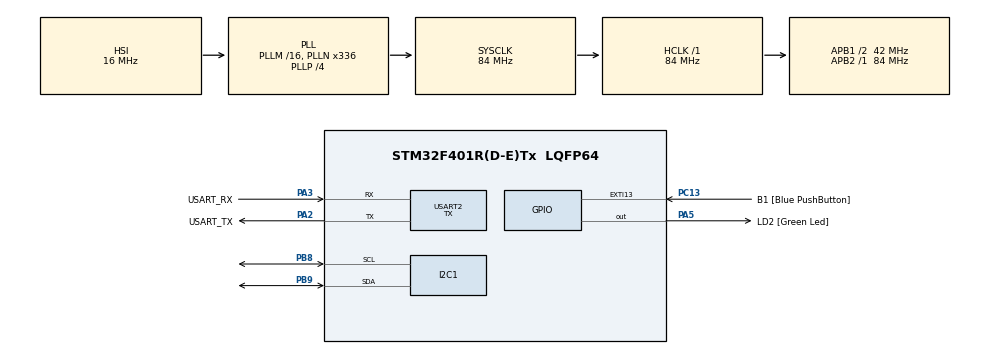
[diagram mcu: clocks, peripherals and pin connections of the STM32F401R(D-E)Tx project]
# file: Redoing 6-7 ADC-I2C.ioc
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ADC1.Channel-1\#ChannelRegularConversion=ADC_CHANNEL_TEMPSENSOR
ADC1.ExternalTrigConv=ADC_EXTERNALTRIGCONV_T2_TRGO
ADC1.NbrOfConversionFlag=1
ADC1.Rank-1\#ChannelRegularConversion=1
ADC1.SamplingTime-1\#ChannelRegularConversion=ADC_SAMPLETIME_480CYCLES
ADC1.master=1
Dma.ADC1.0.Direction=DMA_PERIPH_TO_MEMORY
Dma.ADC1.0.FIFOMode=DMA_FIFOMODE_DISABLE
Dma.ADC1.0.Instance=DMA2_Stream0
Dma.ADC1.0.MemDataAlignment=DMA_MDATAALIGN_HALFWORD
Dma.ADC1.0.MemInc=DMA_MINC_ENABLE
Dma.ADC1.0.Mode=DMA_NORMAL
Dma.ADC1.0.PeriphDataAlignment=DMA_PDATAALIGN_HALFWORD
Dma.ADC1.0.PeriphInc=DMA_PINC_DISABLE
Dma.ADC1.0.Priority=DMA_PRIORITY_LOW
Dma.Request0=ADC1
Mcu.Family=STM32F4
Mcu.Name=STM32F401R(D-E)Tx
Mcu.Package=LQFP64
NVIC.ADC_IRQn=true\:0\:0\:false\:false\:true\:true\:true\:true
NVIC.DMA2_Stream0_IRQn=true\:0\:0\:false\:false\:true\:false\:true\:true
NVIC.PriorityGroup=NVIC_PRIORITYGROUP_1
NVIC.TIM2_IRQn=true\:1\:0\:true\:false\:true\:true\:true\:true
NVIC.USART2_IRQn=true\:0\:0\:false\:false\:true\:true\:true\:true
PA13.GPIO_Label=TMS
PA13.Mode=Serial_Wire
PA13.Signal=SYS_JTMS-SWDIO
PA14.GPIO_Label=TCK
PA14.Mode=Serial_Wire
PA14.Signal=SYS_JTCK-SWCLK
PA2.GPIO_Label=USART_TX
PA2.GPIO_Mode=GPIO_MODE_AF_PP
PA2.GPIO_PuPd=GPIO_NOPULL
PA2.GPIO_Speed=GPIO_SPEED_FREQ_LOW
PA2.Mode=Asynchronous
PA2.Signal=USART2_TX
PA3.GPIO_Label=USART_RX
PA3.GPIO_Mode=GPIO_MODE_AF_PP
PA3.GPIO_PuPd=GPIO_NOPULL
PA3.GPIO_Speed=GPIO_SPEED_FREQ_LOW
PA3.Mode=Asynchronous
PA3.Signal=USART2_RX
PA5.GPIO_Label=LD2 [Green Led]
PA5.GPIO_Mode=GPIO_MODE_OUTPUT_PP
PA5.GPIO_PuPd=GPIO_NOPULL
PA5.GPIO_Speed=GPIO_SPEED_FREQ_LOW
PA5.Signal=GPIO_Output
PB3.GPIO_Label=SWO
PB3.Signal=SYS_JTDO-SWO
PB8.Mode=I2C
PB8.Signal=I2C1_SCL
PB9.Mode=I2C
PB9.Signal=I2C1_SDA
PC13-ANTI_TAMP.GPIO_Label=B1 [Blue PushButton]
PC13-ANTI_TAMP.GPIO_ModeDefaultEXTI=GPIO_MODE_IT_FALLING
PC13-ANTI_TAMP.GPIO_PuPd=GPIO_NOPULL
PC13-ANTI_TAMP.Signal=GPXTI13
PC14-OSC32_IN.Mode=LSE-External-Oscillator
PC14-OSC32_IN.Signal=RCC_OSC32_IN
PC15-OSC32_OUT.Mode=LSE-External-Oscillator
PC15-OSC32_OUT.Signal=RCC_OSC32_OUT
PH0\ -\ OSC_IN.Mode=HSE-External-Clock-Source
PH0\ -\ OSC_IN.Signal=RCC_OSC_IN
PH1\ -\ OSC_OUT.Mode=HSE-External-Clock-Source
PH1\ -\ OSC_OUT.Signal=RCC_OSC_OUT
ProjectManager.HeapSize=0x200
ProjectManager.StackSize=0x400
ProjectManager.TargetToolchain=STM32CubeIDE
RCC.48MHZClocksFreq_Value=48000000
RCC.AHBFreq_Value=84000000
RCC.APB1CLKDivider=RCC_HCLK_DIV2
RCC.APB1Freq_Value=42000000
RCC.APB1TimFreq_Value=84000000
RCC.APB2Freq_Value=84000000
RCC.APB2TimFreq_Value=84000000
RCC.CortexFreq_Value=84000000
RCC.HCLKFreq_Value=84000000
RCC.HSE_VALUE=8000000
RCC.HSI_VALUE=16000000
RCC.PLLN=336
RCC.PLLP=RCC_PLLP_DIV4
RCC.PLLQ=7
RCC.SYSCLKFreq_VALUE=84000000
RCC.SYSCLKSource=RCC_SYSCLKSOURCE_PLLCLK
RCC.VCOOutputFreq_Value=336000000
TIM2.Period=10000-1
TIM2.Prescaler=8400-1
TIM2.TIM_MasterOutputTrigger=TIM_TRGO_UPDATE
USART2.Mode=MODE_TX
USART2.VirtualMode=VM_ASYNC
VP_ADC1_TempSens_Input.Mode=IN-TempSens
VP_TIM2_VS_ClockSourceINT.Mode=Internal
board=NUCLEO-F401RE

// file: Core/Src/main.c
/* USER CODE BEGIN Header */
/**
 ******************************************************************************
 * @file           : main.c
 * @brief          : Main program body
 ******************************************************************************
 * @attention
 *
 * Copyright (c) 2023 STMicroelectronics.
 * All rights reserved.
 *
 * This software is licensed under terms that can be found in the LICENSE file
 * in the root directory of this software component.
 * If no LICENSE file comes with this software, it is provided AS-IS.
 *
 ******************************************************************************
 */
/* USER CODE END Header */
#include "main.h"

/* USER CODE BEGIN Includes */
#include <string.h>
#include <stdio.h>
#include <stdlib.h>
#include <math.h>
/* USER CODE END Includes */

/* USER CODE BEGIN PD */
#define QUEUE_SIZE 100
/* USER CODE END PD */

ADC_HandleTypeDef hadc1;
DMA_HandleTypeDef hdma_adc1;

I2C_HandleTypeDef hi2c1;

TIM_HandleTypeDef htim2;

UART_HandleTypeDef huart2;

void SystemClock_Config(void);
static void MX_GPIO_Init(void);
static void MX_DMA_Init(void);
static void MX_USART2_UART_Init(void);
static void MX_I2C1_Init(void);
static void MX_TIM2_Init(void);
static void MX_ADC1_Init(void);

/* USER CODE BEGIN 0 */
uint16_t x = 0;

float bitToTemp(uint8_t data[2]) {
	data[1] = (data[1] >> 5) & 0b00000111;
	float temp = (int8_t) data[0] + (float) ((data[1] >> 0) & 0b00000001) / 8.0
			+ (float) ((data[1] >> 1) & 0b00000001) / 4.0
			+ (float) ((data[1] >> 2) & 0b00000001) / 2.0;
	return temp;
}

void HAL_TIM_PeriodElapsedCallback(TIM_HandleTypeDef *htim) {

	if (htim->Instance == TIM2) {
		HAL_ADC_Start_DMA(&hadc1, (uint32_t*)&x, 1);
		static uint8_t data[2];
		char string[128];
		static float prev = 0;

		if (HAL_I2C_Master_Receive(&hi2c1, 0b10010001, data, 2, 1000) == HAL_OK) {

			float temp = bitToTemp(data);
			//if prev value differs from current by 0.875 or more deg then ask again and send that value which probably is correct
			if (abs((int)prev - (int)temp) >= 1 && HAL_I2C_Master_Receive(&hi2c1, 0b10010001, data, 2, 1000) == HAL_OK) {
				temp = bitToTemp(data);
			}

			snprintf(string, sizeof(string), "Board temp: %.3f\r\n", temp);
			prev = temp;

		} else {
			snprintf(string, sizeof(string),
					"Error occurred during readout\r\n");
		}

		HAL_UART_Transmit(&huart2, (uint8_t*) string, strlen(string), 100);
	}

}

void HAL_ADC_ConvCpltCallback(ADC_HandleTypeDef* hadc) {
    // ADC conversion complete callback
    if (hadc == &hadc1) {
    	char string[128];
    	float temp = (((float)x/4095.0 *3.3) - 0.76)/0.025 + 25;

    	snprintf(string, sizeof(string), "Chip temp: %.3f\r\n", temp);
    	HAL_UART_Transmit(&huart2, (uint8_t*) string, strlen(string), 100);
    }
}
/* USER CODE END 0 */

int main(void)
{

  /* MCU Configuration--------------------------------------------------------*/

  /* Reset of all peripherals, Initializes the Flash interface and the Systick. */
  HAL_Init();

  /* Configure the system clock */
  SystemClock_Config();

  /* Initialize all configured peripherals */
  MX_GPIO_Init();
  MX_DMA_Init();
  MX_USART2_UART_Init();
  MX_I2C1_Init();
  MX_TIM2_Init();
  MX_ADC1_Init();
  /* USER CODE BEGIN 2 */
	const uint8_t pin = 0b0000000;
	HAL_I2C_Master_Transmit(&hi2c1, 0b10010000, &pin, 1, 1000);

	HAL_TIM_Base_Start_IT(&htim2);
  /* USER CODE END 2 */

  /* Infinite loop */
  /* USER CODE BEGIN WHILE */
	double useless = 1;
	while (1) {
		useless = pow(useless, 0.5);
		useless = (useless*3+1)/2;
		useless = 1-useless;
    /* USER CODE END WHILE */

    /* USER CODE BEGIN 3 */
	}
	HAL_UART_Transmit(&huart2, &useless, 1, 100);
  /* USER CODE END 3 */
}

void SystemClock_Config(void)
{
  RCC_OscInitTypeDef RCC_OscInitStruct = {0};
  RCC_ClkInitTypeDef RCC_ClkInitStruct = {0};

  /** Configure the main internal regulator output voltage
  */
  __HAL_RCC_PWR_CLK_ENABLE();
  __HAL_PWR_VOLTAGESCALING_CONFIG(PWR_REGULATOR_VOLTAGE_SCALE2);

  /** Initializes the RCC Oscillators according to the specified parameters
  * in the RCC_OscInitTypeDef structure.
  */
  RCC_OscInitStruct.OscillatorType = RCC_OSCILLATORTYPE_HSI;
  RCC_OscInitStruct.HSIState = RCC_HSI_ON;
  RCC_OscInitStruct.HSICalibrationValue = RCC_HSICALIBRATION_DEFAULT;
  RCC_OscInitStruct.PLL.PLLState = RCC_PLL_ON;
  RCC_OscInitStruct.PLL.PLLSource = RCC_PLLSOURCE_HSI;
  RCC_OscInitStruct.PLL.PLLM = 16;
  RCC_OscInitStruct.PLL.PLLN = 336;
  RCC_OscInitStruct.PLL.PLLP = RCC_PLLP_DIV4;
  RCC_OscInitStruct.PLL.PLLQ = 7;
  if (HAL_RCC_OscConfig(&RCC_OscInitStruct) != HAL_OK)
  {
    Error_Handler();
  }

  /** Initializes the CPU, AHB and APB buses clocks
  */
  RCC_ClkInitStruct.ClockType = RCC_CLOCKTYPE_HCLK|RCC_CLOCKTYPE_SYSCLK
                              |RCC_CLOCKTYPE_PCLK1|RCC_CLOCKTYPE_PCLK2;
  RCC_ClkInitStruct.SYSCLKSource = RCC_SYSCLKSOURCE_PLLCLK;
  RCC_ClkInitStruct.AHBCLKDivider = RCC_SYSCLK_DIV1;
  RCC_ClkInitStruct.APB1CLKDivider = RCC_HCLK_DIV2;
  RCC_ClkInitStruct.APB2CLKDivider = RCC_HCLK_DIV1;

  if (HAL_RCC_ClockConfig(&RCC_ClkInitStruct, FLASH_LATENCY_2) != HAL_OK)
  {
    Error_Handler();
  }
}

static void MX_ADC1_Init(void)
{

  ADC_ChannelConfTypeDef sConfig = {0};

  /** Configure the global features of the ADC (Clock, Resolution, Data Alignment and number of conversion)
  */
  hadc1.Instance = ADC1;
  hadc1.Init.ClockPrescaler = ADC_CLOCK_SYNC_PCLK_DIV4;
  hadc1.Init.Resolution = ADC_RESOLUTION_12B;
  hadc1.Init.ScanConvMode = DISABLE;
  hadc1.Init.ContinuousConvMode = DISABLE;
  hadc1.Init.DiscontinuousConvMode = DISABLE;
  hadc1.Init.ExternalTrigConvEdge = ADC_EXTERNALTRIGCONVEDGE_RISING;
  hadc1.Init.ExternalTrigConv = ADC_EXTERNALTRIGCONV_T2_TRGO;
  hadc1.Init.DataAlign = ADC_DATAALIGN_RIGHT;
  hadc1.Init.NbrOfConversion = 1;
  hadc1.Init.DMAContinuousRequests = DISABLE;
  hadc1.Init.EOCSelection = ADC_EOC_SINGLE_CONV;
  if (HAL_ADC_Init(&hadc1) != HAL_OK)
  {
    Error_Handler();
  }

  /** Configure for the selected ADC regular channel its corresponding rank in the sequencer and its sample time.
  */
  sConfig.Channel = ADC_CHANNEL_TEMPSENSOR;
  sConfig.Rank = 1;
  sConfig.SamplingTime = ADC_SAMPLETIME_480CYCLES;
  if (HAL_ADC_ConfigChannel(&hadc1, &sConfig) != HAL_OK)
  {
    Error_Handler();
  }

}

static void MX_I2C1_Init(void)
{

  hi2c1.Instance = I2C1;
  hi2c1.Init.ClockSpeed = 100000;
  hi2c1.Init.DutyCycle = I2C_DUTYCYCLE_2;
  hi2c1.Init.OwnAddress1 = 0;
  hi2c1.Init.AddressingMode = I2C_ADDRESSINGMODE_7BIT;
  hi2c1.Init.DualAddressMode = I2C_DUALADDRESS_DISABLE;
  hi2c1.Init.OwnAddress2 = 0;
  hi2c1.Init.GeneralCallMode = I2C_GENERALCALL_DISABLE;
  hi2c1.Init.NoStretchMode = I2C_NOSTRETCH_DISABLE;
  if (HAL_I2C_Init(&hi2c1) != HAL_OK)
  {
    Error_Handler();
  }

}

static void MX_TIM2_Init(void)
{

  TIM_ClockConfigTypeDef sClockSourceConfig = {0};
  TIM_MasterConfigTypeDef sMasterConfig = {0};

  htim2.Instance = TIM2;
  htim2.Init.Prescaler = 8400-1;
  htim2.Init.CounterMode = TIM_COUNTERMODE_UP;
  htim2.Init.Period = 10000-1;
  htim2.Init.ClockDivision = TIM_CLOCKDIVISION_DIV1;
  htim2.Init.AutoReloadPreload = TIM_AUTORELOAD_PRELOAD_DISABLE;
  if (HAL_TIM_Base_Init(&htim2) != HAL_OK)
  {
    Error_Handler();
  }
  sClockSourceConfig.ClockSource = TIM_CLOCKSOURCE_INTERNAL;
  if (HAL_TIM_ConfigClockSource(&htim2, &sClockSourceConfig) != HAL_OK)
  {
    Error_Handler();
  }
  sMasterConfig.MasterOutputTrigger = TIM_TRGO_UPDATE;
  sMasterConfig.MasterSlaveMode = TIM_MASTERSLAVEMODE_DISABLE;
  if (HAL_TIMEx_MasterConfigSynchronization(&htim2, &sMasterConfig) != HAL_OK)
  {
    Error_Handler();
  }

}

static void MX_USART2_UART_Init(void)
{

  huart2.Instance = USART2;
  huart2.Init.BaudRate = 115200;
  huart2.Init.WordLength = UART_WORDLENGTH_8B;
  huart2.Init.StopBits = UART_STOPBITS_1;
  huart2.Init.Parity = UART_PARITY_NONE;
  huart2.Init.Mode = UART_MODE_TX;
  huart2.Init.HwFlowCtl = UART_HWCONTROL_NONE;
  huart2.Init.OverSampling = UART_OVERSAMPLING_16;
  if (HAL_UART_Init(&huart2) != HAL_OK)
  {
    Error_Handler();
  }

}

static void MX_DMA_Init(void)
{

  /* DMA controller clock enable */
  __HAL_RCC_DMA2_CLK_ENABLE();

  /* DMA interrupt init */
  /* DMA2_Stream0_IRQn interrupt configuration */
  HAL_NVIC_SetPriority(DMA2_Stream0_IRQn, 0, 0);
  HAL_NVIC_EnableIRQ(DMA2_Stream0_IRQn);

}

static void MX_GPIO_Init(void)
{
  GPIO_InitTypeDef GPIO_InitStruct = {0};

  /* GPIO Ports Clock Enable */
  __HAL_RCC_GPIOC_CLK_ENABLE();
  __HAL_RCC_GPIOH_CLK_ENABLE();
  __HAL_RCC_GPIOA_CLK_ENABLE();
  __HAL_RCC_GPIOB_CLK_ENABLE();

  /*Configure GPIO pin Output Level */
  HAL_GPIO_WritePin(LD2_GPIO_Port, LD2_Pin, GPIO_PIN_RESET);

  /*Configure GPIO pin : B1_Pin */
  GPIO_InitStruct.Pin = B1_Pin;
  GPIO_InitStruct.Mode = GPIO_MODE_IT_FALLING;
  GPIO_InitStruct.Pull = GPIO_NOPULL;
  HAL_GPIO_Init(B1_GPIO_Port, &GPIO_InitStruct);

  /*Configure GPIO pin : LD2_Pin */
  GPIO_InitStruct.Pin = LD2_Pin;
  GPIO_InitStruct.Mode = GPIO_MODE_OUTPUT_PP;
  GPIO_InitStruct.Pull = GPIO_NOPULL;
  GPIO_InitStruct.Speed = GPIO_SPEED_FREQ_LOW;
  HAL_GPIO_Init(LD2_GPIO_Port, &GPIO_InitStruct);

}

void Error_Handler(void)
{
	__disable_irq();
	while (1) {
	}
}
